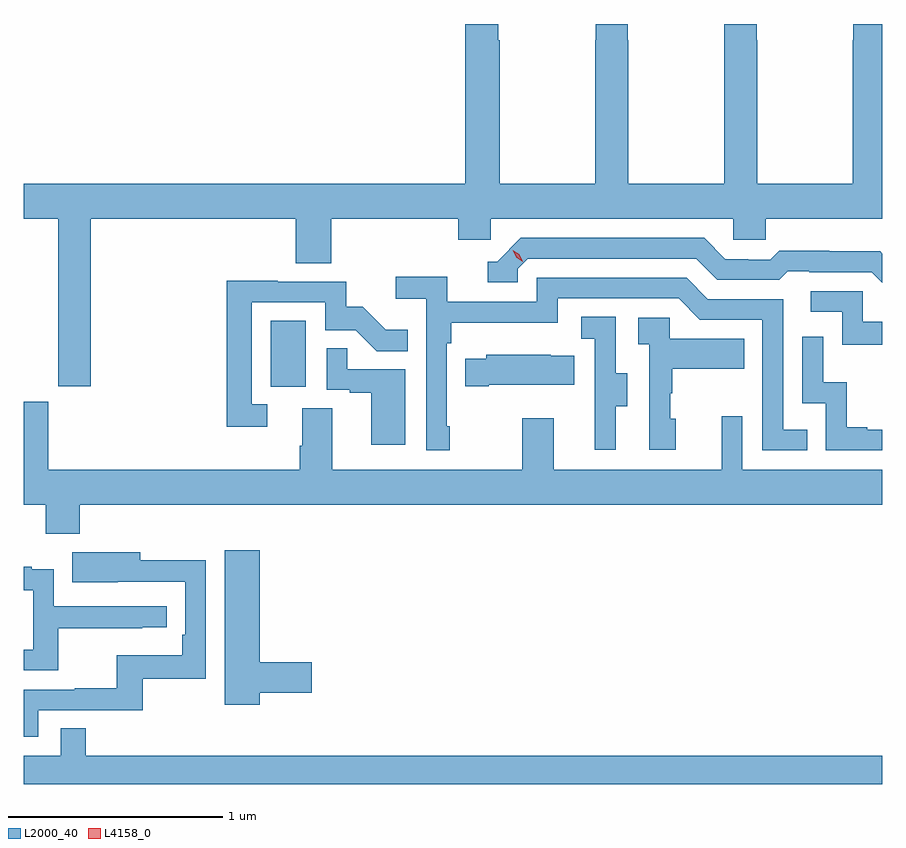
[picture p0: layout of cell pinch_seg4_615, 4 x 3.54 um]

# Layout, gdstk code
import gdstk
lib = gdstk.Library(unit=1e-6, precision=1e-09)
def R(c, l, rs):  # rectangles x0, y0, x1, y1
    for r in rs: c.add(gdstk.rectangle(r[:2], r[2:], *l))
def P(c, l, *ps):  # polygons
    for p in ps: c.add(gdstk.Polygon(p, *l))
L2000_40 = (2000, 40)
L4158_0 = (4158, 0)

pinch_seg4_615 = lib.new_cell('pinch_seg4_615')
R(pinch_seg4_615, L2000_40, [(1066.196,750.75,1066.36,751.057)])
P(pinch_seg4_615, L2000_40, [(1065.359,751.532),(1066.313,751.532),(1066.313,751.324),(1066.478,751.324),(1066.478,751.532),(1067.069,751.532),(1067.069,751.434),(1067.22,751.434),(1067.22,751.532),(1068.351,751.532),(1068.351,751.434),(1068.501,751.434),(1068.501,751.532),(1069.045,751.532),(1069.045,752.439),(1068.909,752.439),(1068.909,752.363),(1068.907,752.363),(1068.907,751.696),(1068.462,751.696),(1068.462,752.363),(1068.459,752.363),(1068.459,752.439),(1068.309,752.439),(1068.309,752.363),(1068.307,752.363),(1068.307,751.696),(1067.862,751.696),(1067.862,752.363),(1067.859,752.363),(1067.859,752.439),(1067.709,752.439),(1067.709,752.363),(1067.707,752.363),(1067.707,751.696),(1067.262,751.696),(1067.262,752.363),(1067.255,752.363),(1067.255,752.439),(1067.102,752.439),(1067.102,751.696),(1065.045,751.696),(1065.045,751.532),(1065.206,751.532),(1065.206,750.753),(1065.359,750.753)],
  [(1069.045,751.37),(1069.034,751.381),(1068.798,751.381),(1068.798,751.384),(1068.565,751.384),(1068.523,751.341),(1068.42,751.341),(1068.42,751.344),(1068.313,751.344),(1068.214,751.443),(1067.361,751.443),(1067.25,751.332),(1067.207,751.332),(1067.207,751.236),(1067.346,751.236),(1067.346,751.299),(1067.394,751.347),(1068.177,751.347),(1068.276,751.248),(1068.565,751.248),(1068.604,751.287),(1068.703,751.287),(1068.703,751.284),(1068.996,751.284),(1069.045,751.235)],
  [(1067.029,750.565),(1067.016,750.565),(1067.016,750.953),(1067.036,750.953),(1067.036,751.049),(1067.532,751.049),(1067.532,751.161),(1068.096,751.161),(1068.195,751.062),(1068.486,751.062),(1068.486,750.453),(1068.695,750.453),(1068.695,750.549),(1068.582,750.549),(1068.582,751.158),(1068.232,751.158),(1068.133,751.257),(1067.436,751.257),(1067.436,751.146),(1067.018,751.146),(1067.018,751.262),(1066.779,751.262),(1066.779,751.16),(1066.92,751.16),(1066.92,750.453),(1067.029,750.453)],
  [(1066.18,750.669),(1066.107,750.669),(1066.107,751.143),(1066.449,751.143),(1066.449,751.014),(1066.593,751.014),(1066.691,750.916),(1066.835,750.916),(1066.835,751.015),(1066.731,751.015),(1066.624,751.122),(1066.548,751.122),(1066.548,751.239),(1066.229,751.239),(1066.229,751.244),(1065.991,751.244),(1065.991,750.564),(1066.18,750.564)],
  [(1069.045,751.053),(1068.954,751.053),(1068.954,751.194),(1068.711,751.194),(1068.711,751.098),(1068.858,751.098),(1068.858,750.945),(1069.045,750.945)],
  [(1067.803,750.658),(1067.857,750.658),(1067.857,750.813),(1067.802,750.813),(1067.802,751.076),(1067.643,751.076),(1067.643,750.973),(1067.706,750.973),(1067.706,750.669),(1067.705,750.669),(1067.705,750.456),(1067.803,750.456)],
  [(1068.082,750.6),(1068.057,750.6),(1068.057,750.719),(1068.067,750.719),(1068.067,750.833),(1068.401,750.833),(1068.401,750.973),(1068.054,750.973),(1068.054,751.071),(1067.907,751.071),(1067.907,750.947),(1067.958,750.947),(1067.958,750.456),(1068.082,750.456)],
  [(1069.045,750.549),(1068.973,750.549),(1068.973,750.562),(1068.878,750.562),(1068.878,750.77),(1068.768,750.77),(1068.768,750.982),(1068.672,750.982),(1068.672,750.672),(1068.78,750.672),(1068.78,750.453),(1069.045,750.453)],
  [(1066.822,750.831),(1066.553,750.831),(1066.553,750.929),(1066.458,750.929),(1066.458,750.735),(1066.565,750.735),(1066.565,750.723),(1066.664,750.723),(1066.664,750.48),(1066.822,750.48)],
  [(1067.212,750.758),(1067.609,750.758),(1067.609,750.895),(1067.501,750.895),(1067.501,750.898),(1067.199,750.898),(1067.199,750.88),(1067.101,750.88),(1067.101,750.751),(1067.212,750.751)],
  [(1065.308,750.2),(1069.045,750.2),(1069.045,750.364),(1068.393,750.364),(1068.393,750.613),(1068.296,750.613),(1068.296,750.364),(1067.515,750.364),(1067.515,750.604),(1067.368,750.604),(1067.368,750.364),(1066.483,750.364),(1066.483,750.65),(1066.343,750.65),(1066.343,750.476),(1066.331,750.476),(1066.331,750.364),(1065.16,750.364),(1065.16,750.681),(1065.045,750.681),(1065.045,750.2),(1065.148,750.2),(1065.148,750.065),(1065.308,750.065)],
  [(1066.144,749.326),(1066.387,749.326),(1066.387,749.468),(1066.144,749.468),(1066.144,749.989),(1065.983,749.989),(1065.983,749.268),(1066.144,749.268)],
  [(1065.114,749.244),(1065.601,749.244),(1065.601,749.391),(1065.894,749.391),(1065.894,749.942),(1065.589,749.942),(1065.589,749.98),(1065.271,749.98),(1065.271,749.84),(1065.485,749.84),(1065.485,749.841),(1065.798,749.841),(1065.798,749.596),(1065.785,749.596),(1065.785,749.5),(1065.48,749.5),(1065.48,749.345),(1065.283,749.345),(1065.283,749.34),(1065.045,749.34),(1065.045,749.121),(1065.114,749.121)],
  [(1065.206,749.626),(1065.599,749.626),(1065.599,749.631),(1065.712,749.631),(1065.712,749.727),(1065.186,749.727),(1065.186,749.899),(1065.083,749.899),(1065.083,749.911),(1065.045,749.911),(1065.045,749.802),(1065.09,749.802),(1065.09,749.526),(1065.045,749.526),(1065.045,749.43),(1065.206,749.43)],
  [(1069.045,749.032),(1065.335,749.032),(1065.335,749.159),(1065.219,749.159),(1065.219,749.032),(1065.045,749.032),(1065.045,748.9),(1069.045,748.9)])
P(pinch_seg4_615, L4158_0, [(1067.37,751.333),(1067.34,751.353),(1067.324,751.386),(1067.324,751.386),(1067.324,751.386),(1067.354,751.366),(1067.37,751.333),(1067.37,751.333)])

lib.write_gds('pinch_seg4_615.gds')
